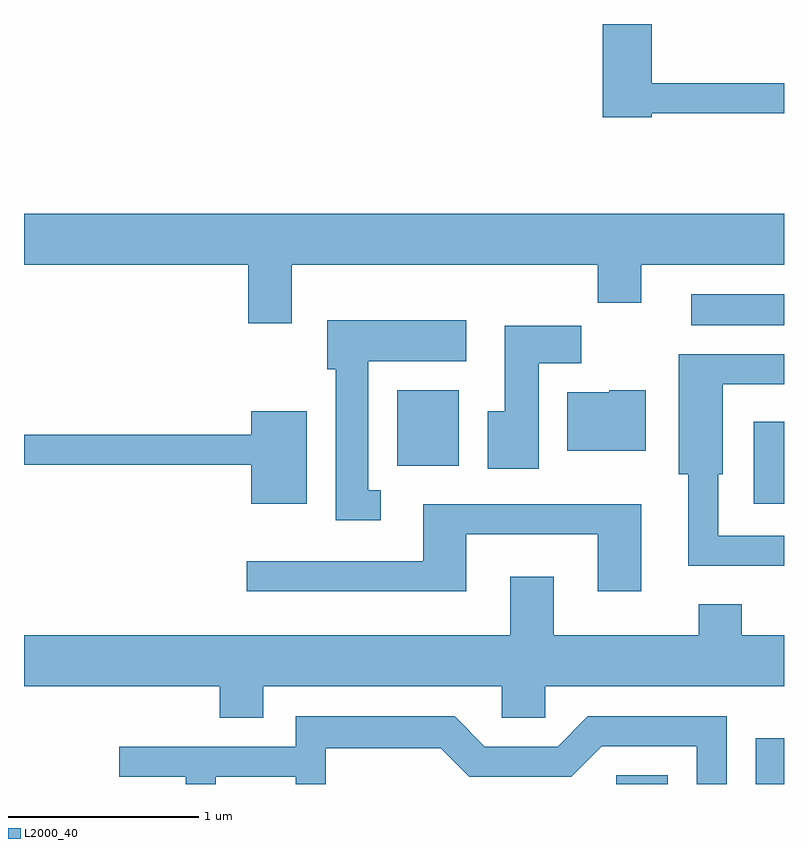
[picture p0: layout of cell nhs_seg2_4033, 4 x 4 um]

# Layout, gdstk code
import gdstk
lib = gdstk.Library(unit=1e-6, precision=1e-09)
def R(c, l, rs):  # rectangles x0, y0, x1, y1
    for r in rs: c.add(gdstk.rectangle(r[:2], r[2:], *l))
def P(c, l, *ps):  # polygons
    for p in ps: c.add(gdstk.Polygon(p, *l))
L2000_40 = (2000, 40)

nhs_seg2_4033 = lib.new_cell('nhs_seg2_4033')
R(nhs_seg2_4033, L2000_40, [(306.728,1047.802,306.999,1047.849), (307.461,1047.802,307.611,1048.043), (307.451,1049.276,307.611,1049.709), (305.576,1049.476,305.899,1049.874), (307.123,1050.216,307.611,1050.379)])
P(nhs_seg2_4033, L2000_40, [(306.914,1051.331),(307.611,1051.331),(307.611,1051.489),(306.914,1051.489),(306.914,1051.802),(306.656,1051.802),(306.656,1051.311),(306.914,1051.311)],
  [(305.019,1050.536),(306.631,1050.536),(306.631,1050.336),(306.859,1050.336),(306.859,1050.536),(307.611,1050.536),(307.611,1050.804),(303.611,1050.804),(303.611,1050.536),(304.791,1050.536),(304.791,1050.226),(305.019,1050.226)],
  [(305.488,1049.349),(305.424,1049.349),(305.424,1050.026),(305.939,1050.026),(305.939,1050.244),(305.206,1050.244),(305.206,1049.986),(305.251,1049.986),(305.251,1049.191),(305.488,1049.191)],
  [(306.319,1050.016),(306.544,1050.016),(306.544,1050.214),(306.141,1050.214),(306.141,1049.764),(306.051,1049.764),(306.051,1049.461),(306.319,1049.461)],
  [(307.611,1049.109),(307.264,1049.109),(307.264,1049.431),(307.289,1049.431),(307.289,1049.906),(307.611,1049.906),(307.611,1050.064),(307.056,1050.064),(307.056,1049.431),(307.106,1049.431),(307.106,1048.951),(307.611,1048.951)],
  [(306.884,1049.874),(306.69,1049.874),(306.69,1049.864),(306.471,1049.864),(306.471,1049.556),(306.884,1049.556)],
  [(305.099,1049.764),(304.806,1049.764),(304.806,1049.639),(303.611,1049.639),(303.611,1049.481),(304.806,1049.481),(304.806,1049.276),(305.099,1049.276)],
  [(305.939,1049.116),(306.631,1049.116),(306.631,1048.816),(306.859,1048.816),(306.859,1049.274),(305.711,1049.274),(305.711,1048.974),(304.783,1048.974),(304.783,1048.816),(305.939,1048.816)],
  [(304.869,1048.316),(306.126,1048.316),(306.126,1048.151),(306.354,1048.151),(306.354,1048.316),(307.611,1048.316),(307.611,1048.584),(307.389,1048.584),(307.389,1048.749),(307.161,1048.749),(307.161,1048.584),(306.399,1048.584),(306.399,1048.894),(306.171,1048.894),(306.171,1048.584),(303.611,1048.584),(303.611,1048.316),(304.641,1048.316),(304.641,1048.151),(304.869,1048.151)],
  [(304.619,1047.841),(305.041,1047.841),(305.041,1047.802),(305.199,1047.802),(305.199,1047.991),(305.804,1047.991),(305.954,1047.841),(306.492,1047.841),(306.652,1048.001),(307.151,1048.001),(307.151,1047.802),(307.309,1047.802),(307.309,1048.159),(306.579,1048.159),(306.419,1047.999),(306.037,1047.999),(305.877,1048.159),(305.041,1048.159),(305.041,1047.999),(304.113,1047.999),(304.113,1047.841),(304.461,1047.841),(304.461,1047.802),(304.619,1047.802)])

lib.write_gds('nhs_seg2_4033.gds')
